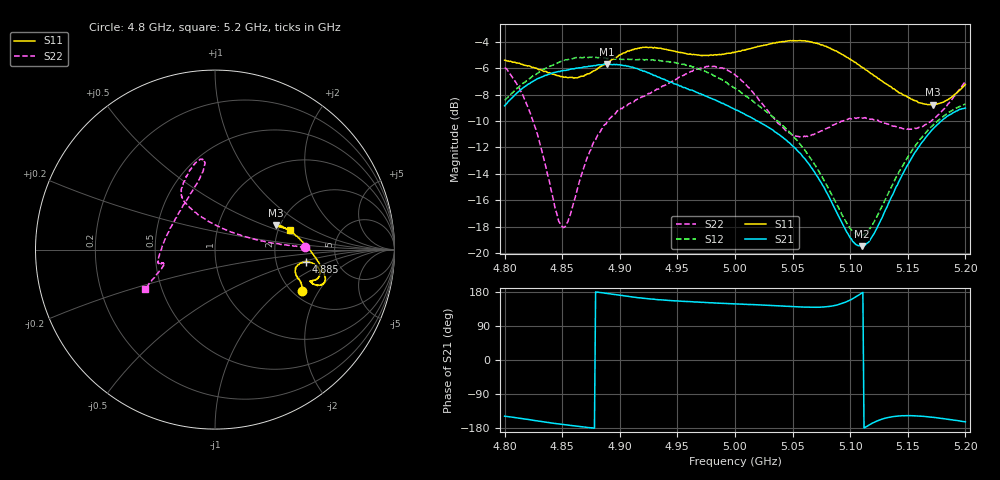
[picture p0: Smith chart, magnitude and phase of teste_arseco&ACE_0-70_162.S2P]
! Network Analyzer HP8722D
! Hewlett-Packard
! Data name: Linha & Wilkinson
! Saver's name: Rodrigo Anjos
! Comments: Teste da utilização de aquisição
! continua pelo VNA HP8722D
! Time and date: 8/5/2025 14:06
!  Frequency  S11  S21  S12  S22
# HZ  S  MA R 50
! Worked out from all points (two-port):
!   401 points, 4.8 GHz to 5.2 GHz, reference 50 ohm
!   highest |S21| = -5.69 dB at 4.889 GHz (marker M1); lowest = -19.5 dB at 5.11 GHz (marker M2)
!   |S21| within 3 dB of the highest: 4.802 GHz to 4.99 GHz (188.7 MHz wide, 3.85 % of centre)
!   lowest |S11| = -8.8 dB at 5.172 GHz (marker M3), VSWR 2.15, Z = 95.1 + j29.7 ohm
!   |S11| at or under -10 dB: nowhere
!   |S22| runs from -18.1 to -5.8 dB; largest |S21 - S12| = 1.1
!   S11 on the Smith chart (normalised r, x): 4.8 GHz: 2.24, -1.45; 4.885 GHz: 2.99, -0.55; 5.2 GHz: 2.33, +0.64
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4.8e9  0.5372 -25.4  0.3609 -148.3  0.3791 11.2  0.5033 1.6
4.813e9  0.5227 -22.3  0.4115 -153.6  0.4277 9.3  0.419 3.3
4.824e9  0.5038 -20.3  0.445 -158.7  0.4662 7.5  0.3219 6.4
4.849e9  0.4654 -16.0  0.4896 -169.5  0.5316 3.6  0.1272 56.9
4.855e9  0.4612 -14.5  0.4936 -171.9  0.5405 2.5  0.1318 84.2
4.867e9  0.4668 -11.1  0.5035 -176.1  0.5486 0.9  0.1994 112.7
4.885e9  0.5129 -7.6  0.5166 177.4  0.5482 -0.2  0.2973 121.9
4.889e9  0.5258 -7.6  0.5192 175.8  0.5453 -0.4  0.314 122.5
4.911e9  0.5896 -10.5  0.5061 166.5  0.5409 0.2  0.3727 120.5
4.934e9  0.5957 -15.4  0.4633 158.8  0.537 -1.1  0.4185 113.9
4.976e9  0.5602 -18.4  0.3908 151.7  0.4824 -4.8  0.5085 99.6
5e9  0.5763 -19.2  0.3496 148.0  0.4207 -4.6  0.4732 97.2
5.018e9  0.6009 -19.1  0.3182 146.0  0.3678 -2.2  0.3949 103.8
5.045e9  0.6346 -17.3  0.2665 141.8  0.2931 3.5  0.2901 132.6
5.067e9  0.6283 -13.4  0.2088 139.2  0.2243 9.6  0.281 164.5
5.099e9  0.5446 -2.6  0.1162 156.7  0.1259 38.1  0.323 -170.0
5.11e9  0.5063 2.5  0.1063 176.6  0.1168 60.0  0.3248 -167.0
5.119e9  0.476 7.2  0.1153 -167.0  0.1274 77.4  0.3217 -166.0
5.134e9  0.4288 14.3  0.1567 -151.0  0.1716 94.8  0.306 -165.7
5.153e9  0.3826 20.6  0.2276 -146.9  0.2421 101.8  0.2943 -164.2
5.172e9  0.3645 21.8  0.2954 -151.4  0.3054 103.0  0.3206 -160.1
5.2e9  0.435 14.8  0.3542 -163.1  0.3674 103.4  0.446 -150.3
